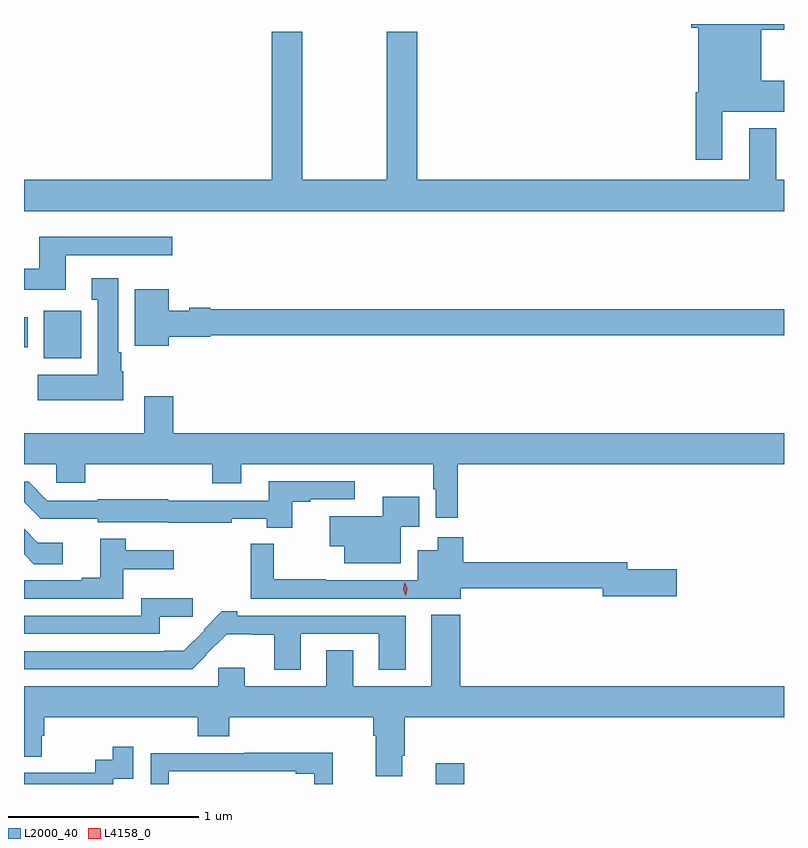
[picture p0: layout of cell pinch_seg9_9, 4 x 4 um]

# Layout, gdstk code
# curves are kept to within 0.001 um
import gdstk
lib = gdstk.Library(unit=1e-6, precision=1e-09)
def R(c, l, rs):  # rectangles x0, y0, x1, y1
    for r in rs: c.add(gdstk.rectangle(r[:2], r[2:], *l))
def P(c, l, *ps):  # polygons
    for p in ps: c.add(gdstk.Polygon(p, *l))
L2000_40 = (2000, 40)
L4158_0 = (4158, 0)

pinch_seg9_9 = lib.new_cell('pinch_seg9_9')
R(pinch_seg9_9, L2000_40, [(1036.925,1244.021,1037.074,1244.131), (1034.861,1246.262,1035.057,1246.513), (1034.757,1246.321,1034.776,1246.477)])
P(pinch_seg9_9, L2000_40, [(1038.433,1247.558),(1038.757,1247.558),(1038.757,1247.722),(1038.637,1247.722),(1038.637,1247.992),(1038.757,1247.992),(1038.757,1248.021),(1038.269,1248.021),(1038.269,1248),(1038.305,1248),(1038.305,1247.662),(1038.293,1247.662),(1038.293,1247.307),(1038.433,1247.307)],
  [(1038.757,1247.2),(1038.715,1247.2),(1038.715,1247.473),(1038.575,1247.473),(1038.575,1247.2),(1036.826,1247.2),(1036.826,1247.98),(1036.666,1247.98),(1036.666,1247.2),(1036.221,1247.2),(1036.221,1247.98),(1036.061,1247.98),(1036.061,1247.2),(1034.757,1247.2),(1034.757,1247.036),(1038.757,1247.036)],
  [(1034.977,1246.803),(1035.538,1246.803),(1035.538,1246.9),(1034.837,1246.9),(1034.837,1246.732),(1034.757,1246.732),(1034.757,1246.622),(1034.977,1246.622)],
  [(1035.28,1246.194),(1035.268,1246.194),(1035.268,1246.294),(1035.253,1246.294),(1035.253,1246.684),(1035.113,1246.684),(1035.113,1246.571),(1035.146,1246.571),(1035.146,1246.174),(1034.829,1246.174),(1034.829,1246.04),(1035.28,1246.04)],
  [(1035.52,1246.376),(1035.738,1246.376),(1035.738,1246.384),(1038.757,1246.384),(1038.757,1246.52),(1035.738,1246.52),(1035.738,1246.528),(1035.627,1246.528),(1035.627,1246.513),(1035.52,1246.513),(1035.52,1246.624),(1035.341,1246.624),(1035.341,1246.328),(1035.52,1246.328)],
  [(1037.039,1245.704),(1038.757,1245.704),(1038.757,1245.868),(1035.542,1245.868),(1035.542,1246.063),(1035.389,1246.063),(1035.389,1245.868),(1034.757,1245.868),(1034.757,1245.704),(1034.928,1245.704),(1034.928,1245.606),(1035.08,1245.606),(1035.08,1245.704),(1035.749,1245.704),(1035.749,1245.605),(1035.901,1245.605),(1035.901,1245.704),(1036.911,1245.704),(1036.911,1245.572),(1036.923,1245.572),(1036.923,1245.423),(1037.039,1245.423)],
  [(1036.168,1245.507),(1036.264,1245.507),(1036.264,1245.519),(1036.498,1245.519),(1036.498,1245.615),(1036.046,1245.615),(1036.046,1245.513),(1035.516,1245.513),(1035.516,1245.52),(1035.144,1245.52),(1035.144,1245.513),(1034.88,1245.513),(1034.781,1245.612),(1034.757,1245.612),(1034.757,1245.504),(1034.844,1245.417),(1035.144,1245.417),(1035.144,1245.398),(1035.516,1245.397),(1035.85,1245.397),(1035.85,1245.416),(1036.034,1245.416),(1036.034,1245.37),(1036.168,1245.37)],
  [(1036.74,1245.374),(1036.838,1245.374),(1036.838,1245.532),(1036.644,1245.532),(1036.644,1245.43),(1036.365,1245.43),(1036.365,1245.272),(1036.442,1245.272),(1036.442,1245.182),(1036.74,1245.182)],
  [(1034.962,1245.291),(1034.83,1245.291),(1034.757,1245.364),(1034.757,1245.229),(1034.808,1245.178),(1034.962,1245.178)],
  [(1037.056,1245.052),(1037.804,1245.052),(1037.804,1245.01),(1038.193,1245.01),(1038.193,1245.152),(1037.932,1245.152),(1037.932,1245.188),(1037.069,1245.188),(1037.069,1245.319),(1036.934,1245.319),(1036.934,1245.25),(1036.829,1245.25),(1036.829,1245.093),(1036.346,1245.093),(1036.346,1245.098),(1036.072,1245.098),(1036.072,1245.285),(1035.951,1245.285),(1035.951,1244.997),(1037.056,1244.997)],
  [(1035.28,1245.152),(1035.544,1245.152),(1035.544,1245.25),(1035.293,1245.25),(1035.293,1245.313),(1035.158,1245.313),(1035.158,1245.106),(1035.062,1245.106),(1035.062,1245.093),(1034.757,1245.093),(1034.757,1244.997),(1035.28,1244.997)],
  [(1035.472,1244.901),(1035.646,1244.901),(1035.646,1244.998),(1035.375,1244.998),(1035.375,1244.907),(1034.757,1244.907),(1034.757,1244.811),(1035.472,1244.811)],
  [(1036.213,1244.811),(1036.625,1244.811),(1036.625,1244.622),(1036.765,1244.622),(1036.765,1244.907),(1035.88,1244.907),(1035.88,1244.929),(1035.799,1244.929),(1035.704,1244.833),(1035.707,1244.831),(1035.598,1244.722),(1034.757,1244.721),(1034.757,1244.625),(1035.643,1244.625),(1035.716,1244.698),(1035.714,1244.7),(1035.824,1244.81),(1035.953,1244.81),(1035.953,1244.806),(1036.073,1244.806),(1036.073,1244.622),(1036.213,1244.622)],
  [(1036.747,1244.17),(1036.76,1244.17),(1036.76,1244.372),(1038.757,1244.372),(1038.757,1244.536),(1037.054,1244.536),(1037.054,1244.911),(1036.901,1244.911),(1036.901,1244.536),(1036.489,1244.536),(1036.489,1244.726),(1036.349,1244.726),(1036.349,1244.536),(1035.919,1244.536),(1035.919,1244.632),(1035.78,1244.632),(1035.78,1244.536),(1034.757,1244.536),(1034.757,1244.164),(1034.851,1244.164),(1034.851,1244.274),(1034.864,1244.274),(1034.864,1244.372),(1035.671,1244.372),(1035.671,1244.273),(1035.836,1244.273),(1035.836,1244.372),(1036.595,1244.372),(1036.595,1244.276),(1036.607,1244.276),(1036.607,1244.063),(1036.747,1244.063)],
  [(1035.228,1244.049),(1035.333,1244.049),(1035.333,1244.218),(1035.225,1244.218),(1035.225,1244.148),(1035.132,1244.148),(1035.132,1244.079),(1034.757,1244.079),(1034.757,1244.021),(1035.228,1244.021)],
  [(1035.519,1244.088),(1036.187,1244.088),(1036.187,1244.076),(1036.284,1244.076),(1036.284,1244.021),(1036.382,1244.021),(1036.382,1244.186),(1035.919,1244.186),(1035.919,1244.184),(1035.423,1244.184),(1035.423,1244.021),(1035.519,1244.021)])
P(pinch_seg9_9, L4158_0, [(1036.765,1245.012),(1036.765,1245.013),(1036.754,1245.047),(1036.762,1245.082),(1036.762,1245.082),(1036.762,1245.082),(1036.773,1245.048),(1036.765,1245.013)])

lib.write_gds('pinch_seg9_9.gds')
